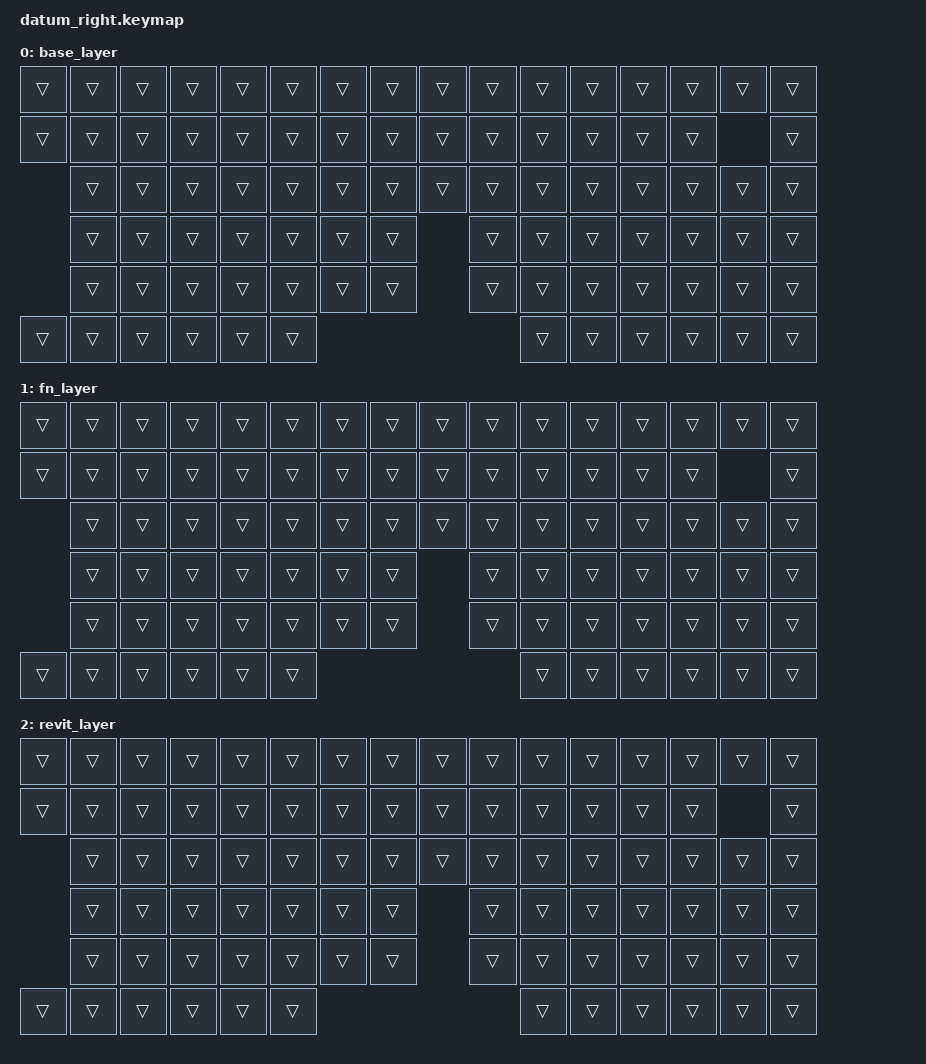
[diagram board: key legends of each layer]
#include <behaviors.dtsi>
#include <dt-bindings/zmk/keys.h>

/ {
    keymap {
        compatible = "zmk,keymap";

        base_layer {
            bindings = <
                &trans &trans &trans &trans &trans &trans &trans                                          &trans  &trans  &trans  &trans  &trans  &trans  &trans &trans &trans
                &trans &trans &trans &trans &trans &trans &trans                                          &trans  &trans  &trans  &trans  &trans  &trans  &trans         &trans
                       &trans &trans &trans &trans &trans &trans                                  &trans   &trans  &trans  &trans  &trans  &trans  &trans  &trans         &trans
                       &trans &trans &trans &trans &trans &trans                                  &trans   &trans  &trans  &trans  &trans  &trans          &trans         &trans
                       &trans &trans &trans &trans &trans &trans                                  &trans   &trans  &trans  &trans  &trans          &trans          &trans  &trans
                &trans &trans &trans &trans         &trans                                                &trans          &trans  &trans  &trans  &trans          &trans  &trans
            >;
        };

        fn_layer {
            bindings = <
                &trans &trans &trans &trans &trans &trans &trans                                          &trans  &trans  &trans  &trans  &trans  &trans  &trans &trans &trans
                &trans &trans &trans &trans &trans &trans &trans                                          &trans  &trans  &trans  &trans  &trans  &trans  &trans         &trans
                       &trans &trans &trans &trans &trans &trans                                  &trans   &trans  &trans  &trans  &trans  &trans  &trans  &trans         &trans
                       &trans &trans &trans &trans &trans &trans                                  &trans   &trans  &trans  &trans  &trans  &trans          &trans         &trans
                       &trans &trans &trans &trans &trans &trans                                  &trans   &trans  &trans  &trans  &trans          &trans          &trans  &trans
                &trans &trans &trans &trans         &trans                                                &trans          &trans  &trans  &trans  &trans          &trans  &trans
            >;
        };

        revit_layer {
            bindings = <
                &trans &trans &trans &trans &trans &trans &trans                                          &trans  &trans  &trans  &trans  &trans  &trans  &trans &trans &trans
                &trans &trans &trans &trans &trans &trans &trans                                          &trans  &trans  &trans  &trans  &trans  &trans  &trans         &trans
                       &trans &trans &trans &trans &trans &trans                                  &trans   &trans  &trans  &trans  &trans  &trans  &trans  &trans         &trans
                       &trans &trans &trans &trans &trans &trans                                  &trans   &trans  &trans  &trans  &trans  &trans          &trans         &trans
                       &trans &trans &trans &trans &trans &trans                                  &trans   &trans  &trans  &trans  &trans          &trans          &trans  &trans
                &trans &trans &trans &trans         &trans                                                &trans          &trans  &trans  &trans  &trans          &trans  &trans
            >;
        };
    };
};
